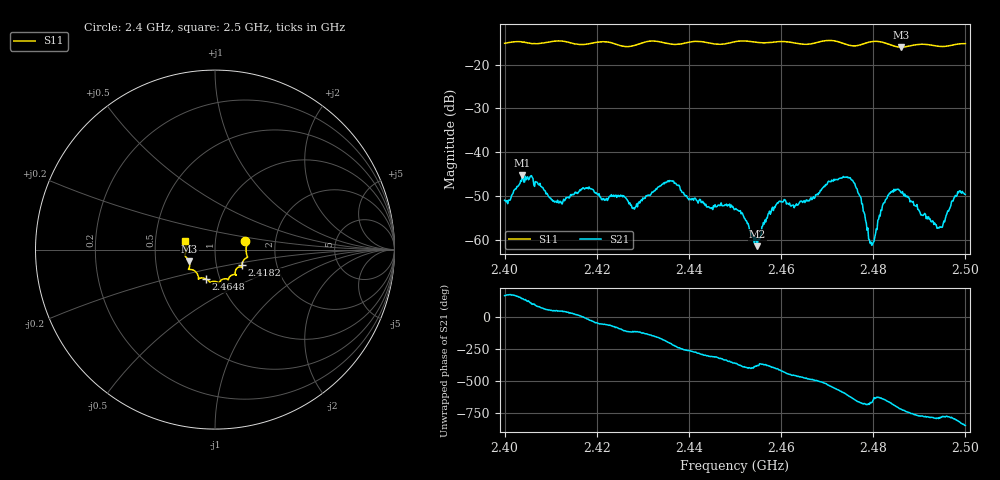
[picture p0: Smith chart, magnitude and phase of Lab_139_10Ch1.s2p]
# Hz S RI R 50
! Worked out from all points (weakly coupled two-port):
!   601 points, 2.4 GHz to 2.5 GHz, reference 50 ohm
!   highest |S21| = -45.21 dB at 2.4038 GHz (marker M1); lowest = -61.4 dB at 2.4548 GHz (marker M2)
!   lowest |S11| = -16.0 dB at 2.486 GHz (marker M3), VSWR 1.38, Z = 37.1 - j4.97 ohm
!   |S11| at or under -10 dB: start of sweep to end of sweep
!   S12 and S22 are empty: the file has one direction only
!   S11 on the Smith chart (normalised r, x): 2.4 GHz: 1.40, +0.13; 2.4182 GHz: 1.33, -0.23; 2.4648 GHz: 0.86, -0.29; 2.5 GHz: 0.71, +0.07
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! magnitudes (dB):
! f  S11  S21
! 2.4 GHz  -15.1  -50.9
! 2.4038 GHz  -14.9  -45.2
! 2.4113 GHz  -14.6  -51.4
! 2.4167 GHz  -15.4  -48.4
! 2.4182 GHz  -15.3  -48.3
! 2.428 GHz  -15.7  -52.7
! 2.4333 GHz  -14.7  -47.9
! 2.4362 GHz  -15.3  -46.6
! 2.4443 GHz  -15.1  -52.4
! 2.45 GHz  -14.8  -53.0
! 2.4548 GHz  -14.9  -61.4
! 2.4593 GHz  -14.8  -51.6
! 2.4648 GHz  -15.4  -51.2
! 2.4667 GHz  -15.2  -50.8
! 2.4752 GHz  -15.7  -46.2
! 2.4772 GHz  -15.5  -50.1
! 2.4797 GHz  -14.8  -61.2
! 2.4833 GHz  -15.3  -49.7
! 2.486 GHz  -16.0  -49.2
! 2.4943 GHz  -15.8  -57.2
! 2.4982 GHz  -15.4  -49.9
! 2.5 GHz  -15.2  -49.6
